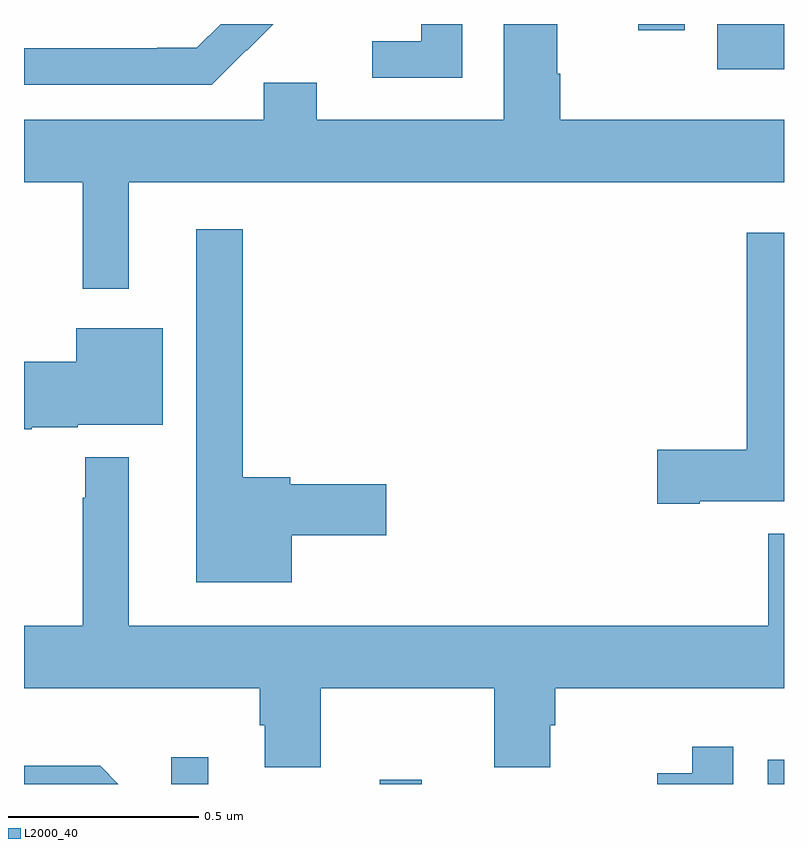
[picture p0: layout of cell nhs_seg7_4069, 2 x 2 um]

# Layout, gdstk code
import gdstk
lib = gdstk.Library(unit=1e-6, precision=1e-09)
def R(c, l, rs):  # rectangles x0, y0, x1, y1
    for r in rs: c.add(gdstk.rectangle(r[:2], r[2:], *l))
def P(c, l, *ps):  # polygons
    for p in ps: c.add(gdstk.Polygon(p, *l))
L2000_40 = (2000, 40)

nhs_seg7_4069 = lib.new_cell('nhs_seg7_4069')
R(nhs_seg7_4069, L2000_40, [(167.388,1031,167.485,1031.071), (167.936,1031,168.047,1031.011), (168.957,1031,169,1031.064), (168.824,1032.881,169,1033), (168.617,1032.984,168.739,1033)])
P(nhs_seg7_4069, L2000_40, [(167.275,1032.584),(169,1032.584),(169,1032.748),(168.411,1032.748),(168.411,1032.869),(168.403,1032.869),(168.403,1033),(168.263,1033),(168.263,1032.748),(167.77,1032.748),(167.77,1032.846),(167.631,1032.846),(167.631,1032.748),(167,1032.748),(167,1032.584),(167.154,1032.584),(167.154,1032.303),(167.275,1032.303)],
  [(168.153,1033),(168.045,1033),(168.045,1032.954),(167.916,1032.954),(167.916,1032.858),(168.153,1032.858)],
  [(167.585,1032.931),(167.586,1032.93),(167.656,1033),(167.518,1033),(167.455,1032.937),(167.351,1032.937),(167.351,1032.936),(167,1032.936),(167,1032.84),(167.494,1032.84)],
  [(167.704,1031.654),(167.953,1031.654),(167.953,1031.789),(167.7,1031.789),(167.7,1031.807),(167.575,1031.807),(167.575,1032.46),(167.453,1032.46),(167.453,1031.531),(167.704,1031.531)],
  [(168.778,1031.744),(169,1031.744),(169,1032.451),(168.902,1032.451),(168.902,1031.879),(168.666,1031.879),(168.666,1031.737),(168.778,1031.737)],
  [(167.02,1031.939),(167.142,1031.939),(167.142,1031.945),(167.365,1031.945),(167.365,1032.199),(167.138,1032.199),(167.138,1032.111),(167,1032.111),(167,1031.933),(167.02,1031.933)],
  [(167.781,1031.252),(168.238,1031.252),(168.238,1031.044),(168.385,1031.044),(168.385,1031.154),(168.398,1031.154),(168.398,1031.252),(169,1031.252),(169,1031.659),(168.959,1031.659),(168.959,1031.416),(167.275,1031.416),(167.275,1031.86),(167.161,1031.86),(167.161,1031.753),(167.154,1031.753),(167.154,1031.416),(167,1031.416),(167,1031.252),(167.621,1031.252),(167.621,1031.154),(167.633,1031.154),(167.633,1031.044),(167.781,1031.044)],
  [(168.867,1031.098),(168.759,1031.098),(168.759,1031.028),(168.666,1031.028),(168.666,1031),(168.867,1031)],
  [(167.2,1031.048),(167,1031.048),(167,1031),(167.248,1031)])

lib.write_gds('nhs_seg7_4069.gds')
